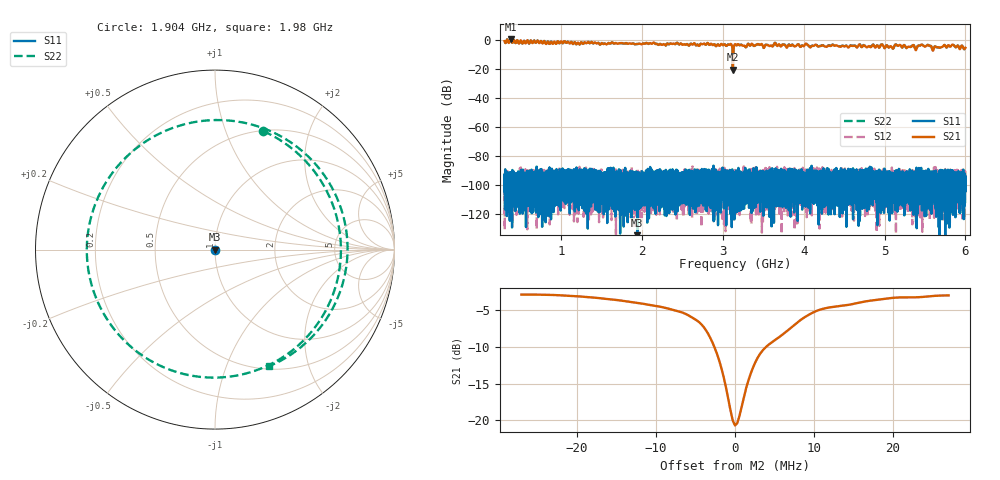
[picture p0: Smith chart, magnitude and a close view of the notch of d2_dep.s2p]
!Agilent Technologies,N5230C,SG49000117,A.08.50.07
!Agilent N5230C: A.08.50.07
!Date: Sunday, March 17, 2024 07:21:11
!Correction: S11(Off)
!S21(Off)
!S12(Off)
!S22(Off)
!S2P File: Measurements: S11, S21, S12, S22:
# Hz S  RI  R 50
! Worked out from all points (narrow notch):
!   20001 points, 300 MHz to 6 GHz, reference 50 ohm
!   highest |S21| = 0.47 dB at 374.1 MHz (marker M1); lowest = -20.7 dB at 3.124 GHz (marker M2)
!   notch at M2: 17.3 dB deep, 4.54 MHz wide at half that depth
!   lowest |S11| = -136.7 dB at 1.941 GHz (marker M3), VSWR 1.00, Z = 50 - j5.56e-06 ohm
!   |S11| at or under -10 dB: start of sweep to end of sweep
!   |S22| runs from -20.7 to 0.5 dB; largest |S21 - S12| = 1.1
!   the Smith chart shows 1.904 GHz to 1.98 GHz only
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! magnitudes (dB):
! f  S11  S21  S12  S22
! 300 MHz  -95.7  -0.9  -96.3  -0.9
! 374.1 MHz  -93.1  0.5  -121.9  0.5
! 1.25 GHz  -98.6  -1.7  -102.2  -1.7
! 1.941 GHz  -136.7  -2.9  -100.3  -2.9
! 2.2 GHz  -96.6  -3.5  -94.1  -3.5
! 3.082 GHz  -97.7  -3.4  -98.9  -3.4
! 3.124 GHz  -102.7  -20.7  -96.0  -20.7
! 3.15 GHz  -94.6  -3.0  -91.9  -2.9
! 3.171 GHz  -113.0  -3.8  -95.2  -3.8
! 3.269 GHz  -92.8  -4.2  -94.4  -4.1
! 3.456 GHz  -99.6  -3.5  -99.9  -3.5
! 3.976 GHz  -96.2  -4.1  -95.0  -4.0
! 4.034 GHz  -99.5  -2.8  -99.8  -2.7
! 4.1 GHz  -99.6  -4.2  -121.0  -4.1
! 5.05 GHz  -96.3  -5.3  -112.1  -5.2
! 5.162 GHz  -103.8  -4.1  -98.2  -4.1
! 5.394 GHz  -93.5  -6.4  -100.3  -6.4
! 5.455 GHz  -92.7  -3.4  -96.5  -3.4
! 5.55 GHz  -116.1  -4.0  -99.1  -4.1
! 5.61 GHz  -103.9  -5.8  -96.5  -5.8
! 5.844 GHz  -98.4  -3.4  -97.4  -3.4
! 6 GHz  -100.3  -5.5  -104.7  -5.5
